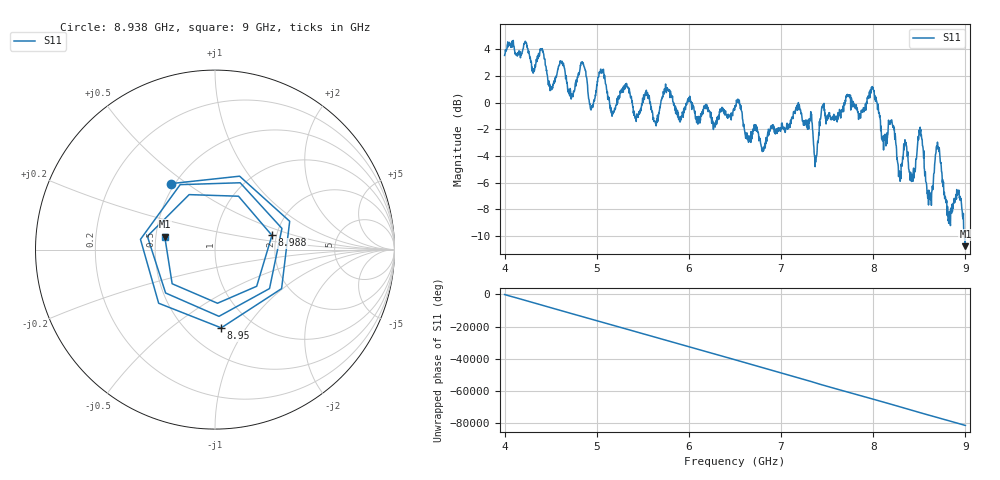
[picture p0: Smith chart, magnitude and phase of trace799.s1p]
! Created with skrf 1.8.0 (http://scikit-rf.org).
# Hz S RI R 50.0
!freq ReS11 ImS11
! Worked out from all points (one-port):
!   1601 points, 4 GHz to 9 GHz, reference 50 ohm
!   lowest |S11| = -10.8 dB at 9 GHz (marker M1), VSWR 1.81, Z = 27.9 + j4.42 ohm
!   |S11| at or under -10 dB: 8.989815 GHz to end of sweep
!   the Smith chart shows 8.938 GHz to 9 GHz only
!   S11 on the Smith chart (normalised r, x): 8.938 GHz: 0.48, +0.44; 8.95 GHz: 0.72, -0.78; 8.988 GHz: 1.89, +0.34; 9 GHz: 0.56, +0.09
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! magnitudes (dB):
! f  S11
! 4 GHz  3.5
! 4.506 GHz  1.0
! 4.625 GHz  2.9
! 4.722 GHz  0.3
! 4.853 GHz  2.9
! 4.941 GHz  -0.4
! 5.05 GHz  2.3
! 5.162 GHz  -0.7
! 5.25 GHz  0.4
! 5.875 GHz  -0.6
! 6.5 GHz  -0.2
! 6.803 GHz  -3.6
! 7.125 GHz  -1.1
! 7.378 GHz  -4.1
! 7.447 GHz  -0.3
! 7.75 GHz  0.3
! 7.994 GHz  1.1
! 8.281 GHz  -5.3
! 8.375 GHz  -3.7
! 8.434 GHz  -5.3
! 8.509 GHz  -1.8
! 8.606 GHz  -7.3
! 8.7 GHz  -3.3
! 8.812 GHz  -8.8
! 8.938 GHz  -7.1
! 8.95 GHz  -7.2
! 8.988 GHz  -9.7
! 9 GHz  -10.8
